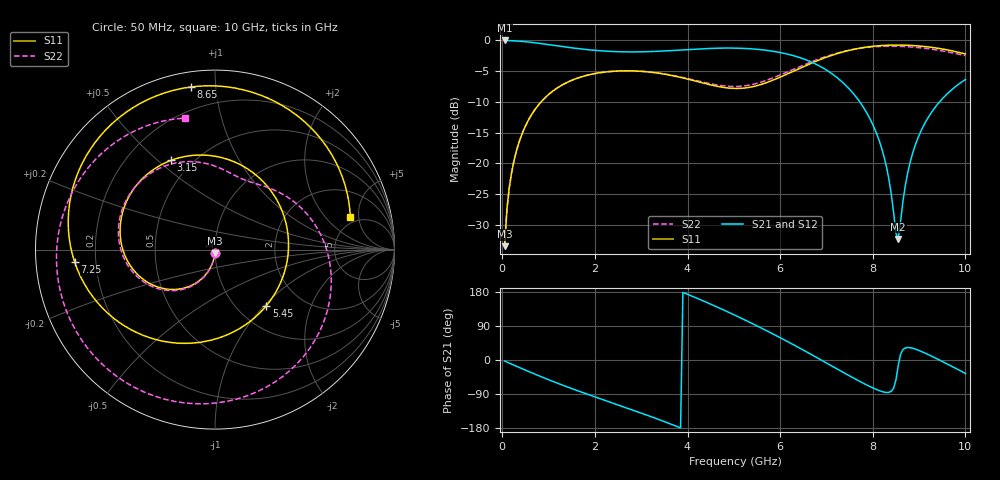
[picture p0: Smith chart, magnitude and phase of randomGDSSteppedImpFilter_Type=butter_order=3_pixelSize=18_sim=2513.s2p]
! freq	dB(S11)	phase(S11)	dB(S12)	phase(S12)
!  dB(S21)	phase(S21)	dB(S22)	phase(S22)
!S-par simulation data
#  GHz  S  DB  R 50
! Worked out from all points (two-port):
!   200 points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, 50 MHz to 10 GHz, reference 50 ohm
!   highest |S21| = -0.01 dB at 50 MHz (marker M1); lowest = -32.3 dB at 8.55 GHz (marker M2)
!   |S21| within 3 dB of the highest: start of sweep to 6.504 GHz
!   lowest |S11| = -33.5 dB at 50 MHz (marker M3), VSWR 1.04, Z = 49.9 - j2.11 ohm
!   |S11| at or under -10 dB: start of sweep to 837.9 MHz
!   |S22| runs from -33.5 to -0.9 dB; largest |S21 - S12| = 0
!   S11 on the Smith chart (normalised r, x): 50 MHz: 1.00, -0.04; 3.15 GHz: 0.39, +0.55; 5.45 GHz: 1.35, -1.03; 7.25 GHz: 0.12, -0.04; 8.65 GHz: 0.08, +0.86; 10 GHz: 4.27, +3.89
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0.05  -33.47 -92.8  -0.01 -2.8  -0.01 -2.8  -33.47 -92.8
0.2  -21.54 -101.6  -0.05 -10.9  -0.05 -10.9  -21.53 -101.2
0.5  -13.92 -117.8  -0.22 -26.8  -0.22 -26.8  -13.92 -117.0
1.1  -8.19 -148.5  -0.79 -56.9  -0.79 -56.9  -8.19 -146.4
1.75  -5.84 -179.0  -1.43 -86.5  -1.43 -86.5  -5.83 -175.1
2.4  -5.02 151.7  -1.81 -114.3  -1.81 -114.3  -5.01 158.6
3.15  -5.13 116.2  -1.83 -146.7  -1.83 -146.7  -5.10 129.7
3.4  -5.36 103.2  -1.75 -158.0  -1.75 -158.0  -5.33 120.2
4.25  -6.77 51.2  -1.39 160.6  -1.39 160.6  -6.64 90.2
5.05  -7.82 -12.8  -1.26 116.6  -1.26 116.6  -7.50 66.6
5.45  -7.46 -47.5  -1.41 93.0  -1.41 93.0  -7.07 53.7
6.15  -5.48 -102.4  -2.21 49.2  -2.21 49.2  -5.15 20.2
6.7  -3.62 -139.7  -3.61 12.7  -3.61 12.7  -3.41 -16.4
7.25  -2.10 -174.9  -6.18 -25.0  -6.18 -25.0  -2.02 -58.1
7.8  -1.15 150.6  -10.91 -61.6  -10.91 -61.6  -1.20 -101.0
8.35  -0.77 116.7  -22.65 -85.3  -22.65 -85.3  -0.94 -142.5
8.55  -0.75 104.5  -32.29 -14.2  -32.29 -14.2  -0.96 -157.1
8.65  -0.76 98.4  -26.28 27.1  -26.28 27.1  -0.98 -164.4
8.85  -0.82 86.1  -18.62 31.4  -18.62 31.4  -1.08 -178.6
9.1  -0.98 70.6  -13.83 19.9  -13.83 19.9  -1.26 163.8
9.55  -1.46 42.4  -9.11 -6.9  -9.11 -6.9  -1.77 132.9
10  -2.21 13.5  -6.37 -35.4  -6.37 -35.4  -2.48 102.9
